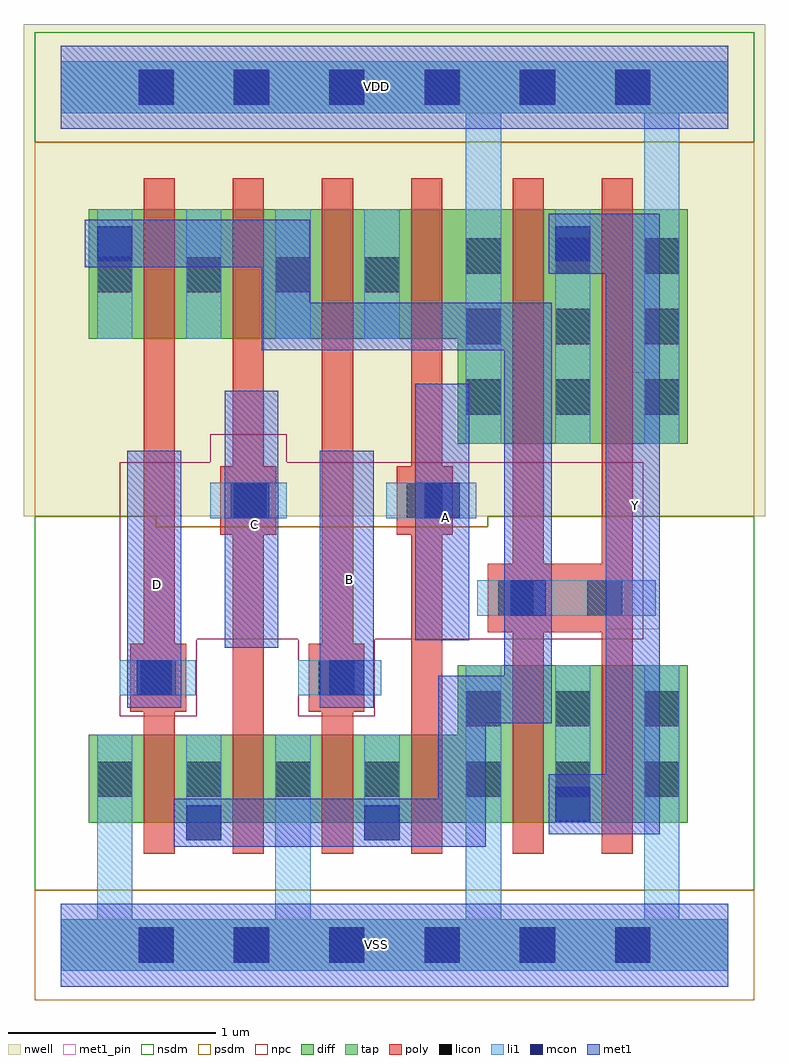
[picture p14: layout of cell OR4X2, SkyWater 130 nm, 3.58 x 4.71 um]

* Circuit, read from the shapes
.subckt OR4X2 A B C D VDD VSS Y
XM1 n1 D VSS VSS sky130_fd_pr__nfet_01v8 w=0.425 l=0.15
XM2 VSS C n1 VSS sky130_fd_pr__nfet_01v8 w=0.425 l=0.15
XM3 n1 B VSS VSS sky130_fd_pr__nfet_01v8 w=0.425 l=0.15
XM4 VSS A n1 VSS sky130_fd_pr__nfet_01v8 w=0.425 l=0.15
XM5 Y n1 VSS VSS sky130_fd_pr__nfet_01v8 w=0.76 l=0.15 m=2
XM6 n2 D n1 VDD sky130_fd_pr__pfet_01v8 w=0.625 l=0.15
XM7 n3 C n2 VDD sky130_fd_pr__pfet_01v8 w=0.625 l=0.15
XM8 n4 B n3 VDD sky130_fd_pr__pfet_01v8 w=0.625 l=0.15
XM9 VDD A n4 VDD sky130_fd_pr__pfet_01v8 w=0.625 l=0.15
XM10 Y n1 VDD VDD sky130_fd_pr__pfet_01v8 w=1.13 l=0.15 m=2
.ends

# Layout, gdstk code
from math import pi, radians
import gdstk
lib = gdstk.Library(unit=1e-6, precision=1e-09)
def R(c, l, rs):  # rectangles x0, y0, x1, y1
    for r in rs: c.add(gdstk.rectangle(r[:2], r[2:], *l))
def A(c, l, x, y, w, h, nx, ny, dx, dy):  # array of equal rectangles
    R(c, l, [(x+i*dx, y+j*dy, x+i*dx+w, y+j*dy+h) for i in range(nx) for j in range(ny)])
def P(c, l, *ps):  # polygons
    for p in ps: c.add(gdstk.Polygon(p, *l))
nwell = (64, 20)
diff = (65, 20)
tap = (65, 44)
poly = (66, 20)
licon = (66, 44)
li1 = (67, 20)
mcon = (67, 44)
met1_pin = (68, 16)
met1 = (68, 20)
nsdm = (93, 44)
psdm = (94, 20)
npc = (95, 20)

nfet_01v8_cdns_715785618 = lib.new_cell('nfet_01v8_CDNS_7157856182028')
R(nfet_01v8_cdns_715785618, diff, [(-0.265,0,0,0.76), (0,0,0.15,0.76), (0.15,0,0.43,0.76), (0.43,0,0.58,0.76), (0.58,0,0.845,0.76)])
R(nfet_01v8_cdns_715785618, poly, [(0,-0.15,0.15,-0.095), (0.43,-0.15,0.58,-0.095), (0,-0.095,0.15,0), (0.43,-0.095,0.58,0), (0,0,0.15,0.76), (0.43,0,0.58,0.76), (0,0.76,0.15,0.855), (0.43,0.76,0.58,0.855), (0,0.855,0.15,0.91), (0.43,0.855,0.58,0.91)])
A(nfet_01v8_cdns_715785618, licon, -0.225, 0.125, 0.17, 0.17, 3, 2, 0.43, 0.34)
A(nfet_01v8_cdns_715785618, li1, -0.225, 0, 0.17, 0.76, 3, 1, 0.43, 0)
R(nfet_01v8_cdns_715785618, nsdm, [(-0.405,-0.13,0.985,0.89)])

pfet_01v8_cdns_715785618 = lib.new_cell('pfet_01v8_CDNS_7157856182023')
R(pfet_01v8_cdns_715785618, nwell, [(-0.445,-0.18,1.025,1.31)])
R(pfet_01v8_cdns_715785618, diff, [(-0.265,0,0,1.13), (0,0,0.15,1.13), (0.15,0,0.43,1.13), (0.43,0,0.58,1.13), (0.58,0,0.845,1.13)])
R(pfet_01v8_cdns_715785618, poly, [(0,-0.15,0.15,-0.095), (0.43,-0.15,0.58,-0.095), (0,-0.095,0.15,0), (0.43,-0.095,0.58,0), (0,0,0.15,1.13), (0.43,0,0.58,1.13), (0,1.13,0.15,1.225), (0.43,1.13,0.58,1.225), (0,1.225,0.15,1.28), (0.43,1.225,0.58,1.28)])
A(pfet_01v8_cdns_715785618, licon, -0.225, 0.14, 0.17, 0.17, 3, 3, 0.43, 0.34)
A(pfet_01v8_cdns_715785618, li1, -0.225, 0, 0.17, 1.13, 3, 1, 0.43, 0)
R(pfet_01v8_cdns_715785618, psdm, [(-0.405,-0.13,0.985,1.26)])

c_nfet_01v8_cdns_715785618 = lib.new_cell('nfet_01v8_CDNS_7157856182078')
R(c_nfet_01v8_cdns_715785618, diff, [(-0.055,0,0,0.425), (0,0,0.15,0.425), (0.15,0,0.375,0.425)])
R(c_nfet_01v8_cdns_715785618, poly, [(0,-0.15,0.15,-0.095), (0,-0.095,0.15,0), (0,0,0.15,0.425), (0,0.425,0.15,0.52), (0,0.52,0.15,0.575)])
R(c_nfet_01v8_cdns_715785618, licon, [(0.205,0.125,0.375,0.295)])
R(c_nfet_01v8_cdns_715785618, li1, [(0.205,0,0.375,0.425)])
R(c_nfet_01v8_cdns_715785618, nsdm, [(-0.065,-0.13,0.385,0.555)])

c_nfet_01v8_cdns_715785618_ = lib.new_cell('nfet_01v8_CDNS_71578561820110')
R(c_nfet_01v8_cdns_715785618_, diff, [(-0.075,0,0,0.425), (0,0,0.15,0.425), (0.15,0,0.205,0.425)])
R(c_nfet_01v8_cdns_715785618_, poly, [(0,-0.15,0.15,-0.095), (0,-0.095,0.15,0), (0,0,0.15,0.425), (0,0.425,0.15,0.52), (0,0.52,0.15,0.575)])
R(c_nfet_01v8_cdns_715785618_, nsdm, [(0.045,-0.13,0.215,0.555)])

c_nfet_01v8_cdns_715785618__ = lib.new_cell('nfet_01v8_CDNS_7157856182011')
R(c_nfet_01v8_cdns_715785618__, diff, [(-0.265,0,0,0.425), (0,0,0.15,0.425), (0.15,0,0.205,0.425)])
R(c_nfet_01v8_cdns_715785618__, poly, [(0,-0.15,0.15,-0.095), (0,-0.095,0.15,0), (0,0,0.15,0.425), (0,0.425,0.15,0.52), (0,0.52,0.15,0.575)])
R(c_nfet_01v8_cdns_715785618__, licon, [(-0.225,0.125,-0.055,0.295)])
R(c_nfet_01v8_cdns_715785618__, li1, [(-0.225,0,-0.055,0.425)])
R(c_nfet_01v8_cdns_715785618__, nsdm, [(-0.405,-0.13,0.215,0.555)])

c_pfet_01v8_cdns_715785618 = lib.new_cell('pfet_01v8_CDNS_7157856182032')
R(c_pfet_01v8_cdns_715785618, nwell, [(-0.405,-0.18,0.385,0.805)])
R(c_pfet_01v8_cdns_715785618, diff, [(-0.225,0,0,0.625), (0,0,0.15,0.625), (0.15,0,0.205,0.625)])
R(c_pfet_01v8_cdns_715785618, poly, [(0,-0.15,0.15,-0.095), (0,-0.095,0.15,0), (0,0,0.15,0.625), (0,0.625,0.15,0.72), (0,0.72,0.15,0.775)])
R(c_pfet_01v8_cdns_715785618, psdm, [(-0.235,-0.13,0.215,0.755)])

c_pfet_01v8_cdns_715785618_ = lib.new_cell('pfet_01v8_CDNS_7157856182035')
R(c_pfet_01v8_cdns_715785618_, nwell, [(-0.255,-0.18,0.385,0.805)])
R(c_pfet_01v8_cdns_715785618_, diff, [(-0.075,0,0,0.625), (0,0,0.15,0.625), (0.15,0,0.205,0.625)])
R(c_pfet_01v8_cdns_715785618_, poly, [(0,-0.15,0.15,-0.095), (0,-0.095,0.15,0), (0,0,0.15,0.625), (0,0.625,0.15,0.72), (0,0.72,0.15,0.775)])
R(c_pfet_01v8_cdns_715785618_, psdm, [(0.045,-0.13,0.215,0.755)])

c_pfet_01v8_cdns_715785618__ = lib.new_cell('pfet_01v8_CDNS_7157856182098')
R(c_pfet_01v8_cdns_715785618__, nwell, [(-0.405,-0.18,0.595,0.805)])
R(c_pfet_01v8_cdns_715785618__, diff, [(-0.225,0,0,0.625), (0,0,0.15,0.625), (0.15,0,0.415,0.625)])
R(c_pfet_01v8_cdns_715785618__, poly, [(0,-0.15,0.15,-0.095), (0,-0.095,0.15,0), (0,0,0.15,0.625), (0,0.625,0.15,0.72), (0,0.72,0.15,0.775)])
R(c_pfet_01v8_cdns_715785618__, licon, [(0.205,0.225,0.375,0.395)])
R(c_pfet_01v8_cdns_715785618__, li1, [(0.205,0,0.375,0.625)])
R(c_pfet_01v8_cdns_715785618__, psdm, [(-0.235,-0.13,0.555,0.755)])

c_nfet_01v8_cdns_715785618___ = lib.new_cell('nfet_01v8_CDNS_71578561820111')
R(c_nfet_01v8_cdns_715785618___, diff, [(-0.225,0,0,0.425), (0,0,0.15,0.425), (0.15,0,0.375,0.425)])
R(c_nfet_01v8_cdns_715785618___, poly, [(0,-0.15,0.15,-0.095), (0,-0.095,0.15,0), (0,0,0.15,0.425), (0,0.425,0.15,0.52), (0,0.52,0.15,0.575)])
R(c_nfet_01v8_cdns_715785618___, licon, [(-0.225,0.125,-0.055,0.295), (0.205,0.125,0.375,0.295)])
R(c_nfet_01v8_cdns_715785618___, li1, [(-0.225,0,-0.055,0.425), (0.205,0,0.375,0.425)])
R(c_nfet_01v8_cdns_715785618___, nsdm, [(-0.235,-0.13,0.385,0.555)])

l1m1_c_cdns_715785618201 = lib.new_cell('L1M1_C_CDNS_7157856182010')
R(l1m1_c_cdns_715785618201, li1, [(-0.085,-0.085,0.085,0.165)])
R(l1m1_c_cdns_715785618201, mcon, [(-0.085,-0.085,0.085,0.085)])
R(l1m1_c_cdns_715785618201, met1, [(-0.115,-0.145,0.115,0.145)])

l1m1_c_cdns_715785618203 = lib.new_cell('L1M1_C_CDNS_715785618203')
R(l1m1_c_cdns_715785618203, li1, [(-0.165,-0.085,0.165,0.085)])
R(l1m1_c_cdns_715785618203, mcon, [(-0.085,-0.085,0.085,0.085)])
R(l1m1_c_cdns_715785618203, met1, [(-0.115,-0.145,0.115,0.145)])

l1m1_c_cdns_715785618202 = lib.new_cell('L1M1_C_CDNS_715785618202')
R(l1m1_c_cdns_715785618202, li1, [(-0.085,-0.165,0.085,0.165)])
R(l1m1_c_cdns_715785618202, mcon, [(-0.085,-0.085,0.085,0.085)])
R(l1m1_c_cdns_715785618202, met1, [(-0.115,-0.145,0.115,0.145)])

pyl1con_c_cdns_715785618 = lib.new_cell('PYL1CON_C_CDNS_715785618200')
R(pyl1con_c_cdns_715785618, poly, [(-0.135,-0.165,0.135,0.165)])
R(pyl1con_c_cdns_715785618, licon, [(-0.085,-0.085,0.085,0.085)])
R(pyl1con_c_cdns_715785618, npc, [(-0.185,-0.185,0.185,0.185)])

l1m1_c_cdns_715785618206 = lib.new_cell('L1M1_C_CDNS_715785618206')
R(l1m1_c_cdns_715785618206, li1, [(-0.085,-0.165,0.085,0.165)])
R(l1m1_c_cdns_715785618206, mcon, [(-0.085,-0.085,0.085,0.085)])
R(l1m1_c_cdns_715785618206, met1, [(-0.145,-0.115,0.145,0.115)])

c_l1m1_c_cdns_715785618202 = lib.new_cell('L1M1_C_CDNS_7157856182024')
R(c_l1m1_c_cdns_715785618202, li1, [(-0.085,-0.085,0.085,0.165)])
R(c_l1m1_c_cdns_715785618202, mcon, [(-0.085,-0.085,0.085,0.085)])
R(c_l1m1_c_cdns_715785618202, met1, [(-0.145,-0.115,0.145,0.115)])

or4x2 = lib.new_cell('OR4X2')
R(or4x2, nwell, [(-0.18,2.07,3.4,4.305), (-0.18,3.875,3.4,4.445)])
R(or4x2, poly, [(2.18,1.51,2.6,1.84)])
A(or4x2, licon, 0.375, -0.085, 0.17, 0.17, 6, 2, 0.46, 4.14)
A(or4x2, licon, 0.605, 3.15, 0.17, 0.17, 3, 1, 0.43, 0)
A(or4x2, li1, 0.605, 2.925, 0.17, 0.625, 3, 1, 0.43, 0)
A(or4x2, mcon, 0.375, -0.085, 0.17, 0.17, 6, 2, 0.46, 4.14)
R(or4x2, met1_pin, [(0.32,1.145,0.58,2.385), (1.25,1.145,1.51,2.385), (0.79,1.435,1.05,2.675), (1.71,1.47,1.97,2.71), (2.63,1.525,2.89,2.765)])
R(or4x2, nsdm, [(-0.125,3.875,3.345,4.405), (-0.125,3.93,3.345,4.35)])
P(or4x2, nsdm, [(3.345,2.07),(2.06,2.07),(2.06,2.02),(0.46,2.02),(0.46,2.07),(-0.125,2.07),(-0.125,0.265),(3.345,0.265)])
R(or4x2, psdm, [(-0.125,-0.265,3.345,0.265), (-0.125,-0.21,3.345,0.21)])
P(or4x2, psdm, [(3.345,3.875),(-0.125,3.875),(-0.125,2.07),(0.46,2.07),(0.46,2.02),(2.06,2.02),(2.06,2.07),(3.345,2.07)])
P(or4x2, npc, [(2.81,2.33),(1.09,2.33),(1.09,2.465),(0.72,2.465),(0.72,2.33),(0.285,2.33),(0.285,1.475),(2.81,1.475)])
or4x2.add(gdstk.FlexPath([(2.685,1.765),(2.685,1.5)], 0.15, ends=(0.075, 0), simple_path=True, layer=66, datatype=20))  # poly
or4x2.add(gdstk.FlexPath([(2.255,2.27),(2.255,1.5)], 0.15, ends="flush", simple_path=True, layer=66, datatype=20))  # poly
or4x2.add(gdstk.FlexPath([(2.685,2.27),(2.685,1.765)], 0.15, ends=(0, 0.075), simple_path=True, layer=66, datatype=20))  # poly
or4x2.add(gdstk.FlexPath([(1.765,2.775),(1.765,1.165)], 0.15, ends="flush", simple_path=True, layer=66, datatype=20))  # poly
or4x2.add(gdstk.FlexPath([(1.335,2.775),(1.335,1.165)], 0.15, ends="flush", simple_path=True, layer=66, datatype=20))  # poly
or4x2.add(gdstk.FlexPath([(0.905,2.775),(0.905,1.165)], 0.15, ends="flush", simple_path=True, layer=66, datatype=20))  # poly
or4x2.add(gdstk.FlexPath([(0.475,2.775),(0.475,1.165)], 0.15, ends="flush", simple_path=True, layer=66, datatype=20))  # poly
or4x2.add(gdstk.FlexPath([(2.255,1.675),(2.87,1.675)], 0.17, ends="flush", simple_path=True, layer=67, datatype=20))  # li1
or4x2.add(gdstk.FlexPath([(0.72,2.145),(1.09,2.145)], 0.17, ends="flush", simple_path=True, layer=67, datatype=20))  # li1
or4x2.add(gdstk.FlexPath([(0.285,1.29),(0.65,1.29)], 0.17, ends="flush", simple_path=True, layer=67, datatype=20))  # li1
or4x2.add(gdstk.FlexPath([(1.145,1.29),(1.51,1.29)], 0.17, ends="flush", simple_path=True, layer=67, datatype=20))  # li1
or4x2.add(gdstk.FlexPath([(1.57,2.145),(1.94,2.145)], 0.17, ends="flush", simple_path=True, layer=67, datatype=20))  # li1
or4x2.add(gdstk.FlexPath([(2.01,1.675),(2.255,1.675)], 0.17, ends="flush", simple_path=True, layer=67, datatype=20))  # li1
or4x2.add(gdstk.FlexPath([(3.135,0),(0,0)], 0.25, ends=(0.085, 0), simple_path=True, layer=67, datatype=20))  # li1
or4x2.add(gdstk.FlexPath([(3.135,4.14),(0,4.14)], 0.25, ends=(0.085, 0), simple_path=True, layer=67, datatype=20))  # li1
or4x2.add(gdstk.FlexPath([(2.04,3.55),(2.04,4.14)], 0.17, ends="flush", simple_path=True, layer=67, datatype=20))  # li1
or4x2.add(gdstk.FlexPath([(2.9,3.55),(2.9,4.14)], 0.17, ends="flush", simple_path=True, layer=67, datatype=20))  # li1
or4x2.add(gdstk.FlexPath([(2.9,0.59),(2.9,0)], 0.17, ends="flush", simple_path=True, layer=67, datatype=20))  # li1
or4x2.add(gdstk.FlexPath([(2.04,0),(1.12,0)], 0.17, ends="extended", simple_path=True, layer=67, datatype=20))  # li1
or4x2.add(gdstk.FlexPath([(2.04,0.59),(2.04,0)], 0.17, ends=(0, 0.085), simple_path=True, layer=67, datatype=20))  # li1
or4x2.add(gdstk.FlexPath([(1.12,0.59),(1.12,0)], 0.17, ends=(0, 0.085), simple_path=True, layer=67, datatype=20))  # li1
or4x2.add(gdstk.FlexPath([(0.26,0),(0.215,0)], 0.17, ends=(0.085, 0), simple_path=True, layer=67, datatype=20))  # li1
or4x2.add(gdstk.FlexPath([(0.26,0.59),(0.26,0)], 0.17, ends=(0, 0.085), simple_path=True, layer=67, datatype=20))  # li1
or4x2.add(gdstk.FlexPath([(0,0),(3.22,0)], 0.25, ends="flush", simple_path=True, layer=65, datatype=44))  # tap
or4x2.add(gdstk.FlexPath([(0,4.14),(3.22,4.14)], 0.25, ends="flush", simple_path=True, layer=65, datatype=44))  # tap
or4x2.add(gdstk.FlexPath([(1.475,0.59),(0.545,0.59)], 0.23, ends=(0.115, 0), simple_path=True, layer=68, datatype=20))  # met1
or4x2.add(gdstk.FlexPath([(2.255,1.205),(2.255,1.185)], 0.23, ends=(0, 0.115), simple_path=True, layer=68, datatype=20))  # met1
or4x2.add(gdstk.FlexPath([(1.935,1.185),(1.935,0.59)], 0.23, ends="extended", simple_path=True, layer=68, datatype=20))  # met1
or4x2.add(gdstk.FlexPath([(2.255,1.185),(1.935,1.185)], 0.23, ends="extended", simple_path=True, layer=68, datatype=20))  # met1
or4x2.add(gdstk.FlexPath([(1.085,3.385),(1.085,2.985)], 0.23, ends="extended", simple_path=True, layer=68, datatype=20))  # met1
or4x2.add(gdstk.FlexPath([(2.255,1.26),(2.255,1.205)], 0.23, ends=(0, 0.115), simple_path=True, layer=68, datatype=20))  # met1
or4x2.add(gdstk.FlexPath([(1.935,0.59),(1.55,0.59)], 0.23, ends=(0.115, 0), simple_path=True, layer=68, datatype=20))  # met1
or4x2.add(gdstk.FlexPath([(2.615,0.68),(2.5,0.68)], 0.29, ends=(0.145, 0), simple_path=True, layer=68, datatype=20))  # met1
or4x2.add(gdstk.FlexPath([(2.255,1.92),(2.255,1.68)], 0.23, ends=(0, 0.115), simple_path=True, layer=68, datatype=20))  # met1
or4x2.add(gdstk.FlexPath([(2.615,0.535),(2.615,0.68)], 0.29, ends=(0, 0.145), simple_path=True, layer=68, datatype=20))  # met1
or4x2.add(gdstk.FlexPath([(2.255,2.985),(2.255,1.92)], 0.23, ends=(0.115, 0), simple_path=True, layer=68, datatype=20))  # met1
or4x2.add(gdstk.FlexPath([(1.84,1.47),(1.84,2.71)], 0.26, ends="flush", simple_path=True, layer=68, datatype=20))  # met1
or4x2.add(gdstk.FlexPath([(2.76,3.53),(2.76,0.535)], 0.26, ends="flush", simple_path=True, layer=68, datatype=20))  # met1
or4x2.add(gdstk.FlexPath([(0.45,1.145),(0.45,2.385)], 0.26, ends="flush", simple_path=True, layer=68, datatype=20))  # met1
or4x2.add(gdstk.FlexPath([(0.92,1.435),(0.92,2.675)], 0.26, ends="flush", simple_path=True, layer=68, datatype=20))  # met1
or4x2.add(gdstk.FlexPath([(1.38,1.145),(1.38,2.385)], 0.26, ends="flush", simple_path=True, layer=68, datatype=20))  # met1
or4x2.add(gdstk.FlexPath([(2.76,3.385),(2.5,3.385)], 0.29, ends="flush", simple_path=True, layer=68, datatype=20))  # met1
or4x2.add(gdstk.FlexPath([(0.275,3.385),(1.085,3.385)], 0.23, ends=(0, 0.115), simple_path=True, layer=68, datatype=20))  # met1
or4x2.add(gdstk.FlexPath([(2.255,1.425),(2.255,1.26)], 0.23, ends=(0, 0.115), simple_path=True, layer=68, datatype=20))  # met1
or4x2.add(gdstk.FlexPath([(2.255,1.68),(2.255,1.425)], 0.23, ends=(0, 0.115), simple_path=True, layer=68, datatype=20))  # met1
or4x2.add(gdstk.FlexPath([(1.085,2.985),(2.255,2.985)], 0.23, ends="extended", simple_path=True, layer=68, datatype=20))  # met1
or4x2.add(gdstk.FlexPath([(0,0),(3.22,0)], 0.4, ends="flush", simple_path=True, layer=68, datatype=20))  # met1
or4x2.add(gdstk.FlexPath([(0,4.14),(3.22,4.14)], 0.4, ends="flush", simple_path=True, layer=68, datatype=20))  # met1
or4x2.add(gdstk.FlexPath([(0,4.14),(3.22,4.14)], 0.4, ends="flush", simple_path=True, layer=68, datatype=16))  # met1_pin
or4x2.add(gdstk.FlexPath([(0,0),(3.22,0)], 0.4, ends="flush", simple_path=True, layer=68, datatype=16))  # met1_pin
or4x2.add(gdstk.Reference(nfet_01v8_cdns_715785618, (2.18,0.59)))
or4x2.add(gdstk.Reference(pfet_01v8_cdns_715785618, (2.18,2.42)))
or4x2.add(gdstk.Reference(c_nfet_01v8_cdns_715785618, (1.26,0.59)))
or4x2.add(gdstk.Reference(c_nfet_01v8_cdns_715785618_, (1.84,0.59), rotation=pi, x_reflection=True))
or4x2.add(gdstk.Reference(c_nfet_01v8_cdns_715785618__, (0.4,0.59)))
or4x2.add(gdstk.Reference(c_pfet_01v8_cdns_715785618, (0.98,2.925), rotation=pi, x_reflection=True))
or4x2.add(gdstk.Reference(c_pfet_01v8_cdns_715785618, (1.41,2.925), rotation=pi, x_reflection=True))
or4x2.add(gdstk.Reference(c_pfet_01v8_cdns_715785618_, (1.84,2.925), rotation=pi, x_reflection=True))
or4x2.add(gdstk.Reference(c_pfet_01v8_cdns_715785618__, (0.55,2.925), rotation=pi, x_reflection=True))
or4x2.add(gdstk.Reference(c_nfet_01v8_cdns_715785618___, (0.98,0.59), rotation=pi, x_reflection=True))
or4x2.add(gdstk.Reference(l1m1_c_cdns_715785618201, (2.47,0.68)))
or4x2.add(gdstk.Reference(l1m1_c_cdns_715785618203, (1.84,2.145), x_reflection=True))
or4x2.add(gdstk.Reference(l1m1_c_cdns_715785618203, (2.255,1.675)))
or4x2.add(gdstk.Reference(l1m1_c_cdns_715785618203, (0.45,1.29), x_reflection=True))
or4x2.add(gdstk.Reference(l1m1_c_cdns_715785618203, (0.92,2.145), x_reflection=True))
or4x2.add(gdstk.Reference(l1m1_c_cdns_715785618203, (1.38,1.29), x_reflection=True))
or4x2.add(gdstk.Reference(l1m1_c_cdns_715785618202, (2.47,3.385)))
or4x2.add(gdstk.Reference(pyl1con_c_cdns_715785618, (2.625,1.675)))
or4x2.add(gdstk.Reference(pyl1con_c_cdns_715785618, (1.755,2.145), rotation=pi, x_reflection=True))
or4x2.add(gdstk.Reference(pyl1con_c_cdns_715785618, (2.195,1.675)))
or4x2.add(gdstk.Reference(pyl1con_c_cdns_715785618, (0.47,1.29)))
or4x2.add(gdstk.Reference(pyl1con_c_cdns_715785618, (0.905,2.145)))
or4x2.add(gdstk.Reference(pyl1con_c_cdns_715785618, (1.33,1.29)))
or4x2.add(gdstk.Reference(l1m1_c_cdns_715785618206, (0.26,3.385)))
or4x2.add(gdstk.Reference(c_l1m1_c_cdns_715785618202, (0.69,0.59)))
or4x2.add(gdstk.Reference(c_l1m1_c_cdns_715785618202, (1.55,0.59)))
or4x2.add(gdstk.Label('VDD', (1.525,4.145), layer=68, texttype=20))
or4x2.add(gdstk.Label('A', (1.855,2.065), layer=68, texttype=20))
or4x2.add(gdstk.Label('VSS', (1.525,0.005), layer=68, texttype=20))
or4x2.add(gdstk.Label('D', (0.465,1.74), layer=68, texttype=20))
or4x2.add(gdstk.Label('C', (0.935,2.03), layer=68, texttype=20))
or4x2.add(gdstk.Label('B', (1.395,1.765), layer=68, texttype=20))
or4x2.add(gdstk.Label('Y', (2.775,2.12), layer=68, texttype=20))

lib.write_gds('OR4X2.gds')
